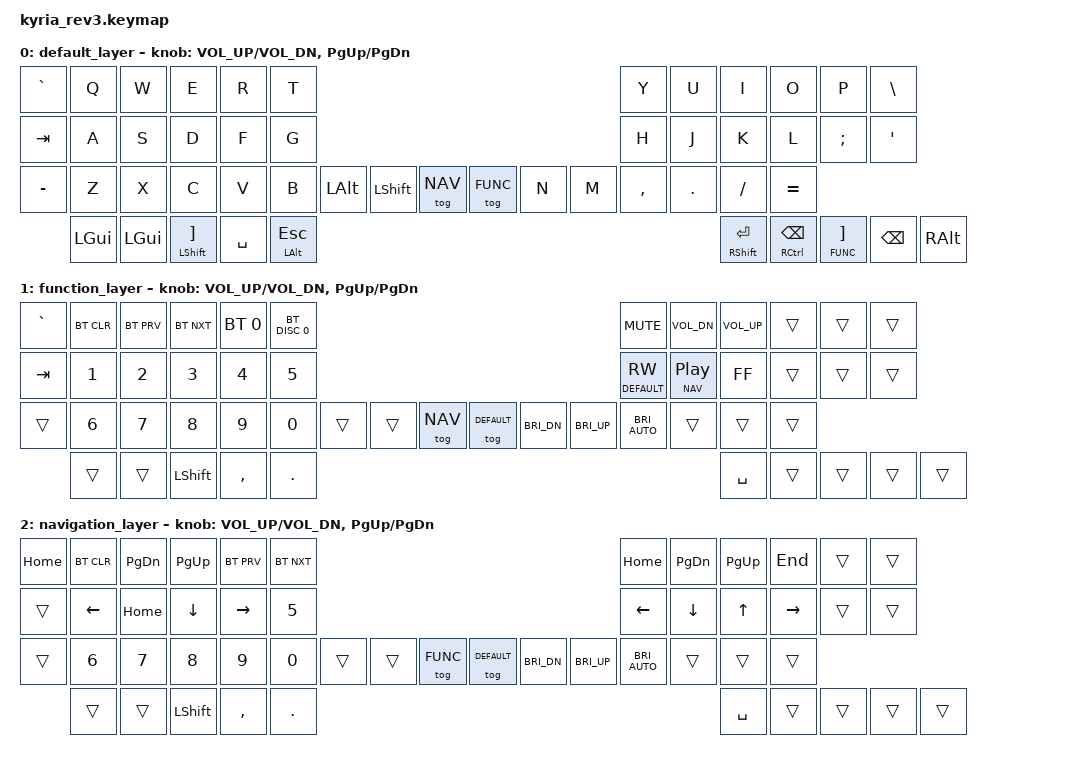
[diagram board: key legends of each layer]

/*
 * Copyright (c) 2023 The ZMK Contributors
 *
 * SPDX-License-Identifier: MIT
 */

#include <behaviors.dtsi>
#include "kyria_rev3.dtsi"
#include <dt-bindings/zmk/bt.h>
#include <dt-bindings/zmk/keys.h>

#define DEFAULT 0
#define FUNC  1
#define NAV  2

/* Uncomment this block if using RGB
&led_strip {
    chain-length = <6>;
    // chain-length = <31>; // Uncomment if using both per-key and underglow LEDs
    // chain-length = <25>; // Uncomment if using only per-key LEDs.
};
 */

/ {
    keymap {
        compatible = "zmk,keymap";

        default_layer {
            // ---------------------------------------------------------------------------------------------------------------------------------
            // |  ESC  |  Q  |  W  |  E   |  R   |  T   |                                          |  Y   |  U    |  I    |  O   |   P   |   \  |
            // |  TAB  |  A  |  S  |  D   |  F   |  G   |                                          |  H   |  J    |  K    |  L   |   ;   |   '  |
            // | SHIFT |  Z  |  X  |  C   |  V   |  B   | L SHIFT | L SHIFT |  | LAYER 1 | L SHIFT |  N   |  M    |  ,    |  .   |   /   | CTRL |
            //                     | GUI  | DEL  | RET  |  SPACE  |   ESC   |  |   RET   |  SPACE  | TAB  | BSPC  | R-ALT |

            bindings = <
            &kp GRAVE  &kp Q  &kp W  &kp E &kp R &kp T                                                                  &kp Y              &kp U     &kp I      &kp O    &kp P     &kp BSLH
            &kp TAB    &kp A  &kp S  &kp D &kp F &kp G                                                                  &kp H              &kp J     &kp K      &kp L    &kp SEMI  &kp SQT
            &kp MINUS  &kp Z  &kp X  &kp C &kp V &kp B  &kp LEFT_ALT  &kp LSHFT  &tog NAV &tog FUNC  &kp N             &kp M     &kp COMMA  &kp DOT  &kp FSLH  &kp EQUAL
                       &kp LGUI  &kp LGUI  &mt LEFT_SHIFT RIGHT_BRACKET &kp SPACE     &mt LEFT_ALT ESC    &mt RSHFT RET  &mt RIGHT_CONTROL BACKSPACE  &lt FUNC RIGHT_BRACKET  &kp BSPC  &kp RALT
            >;

            sensor-bindings = <&inc_dec_kp C_VOL_UP C_VOL_DN &inc_dec_kp PG_UP PG_DN>;
        };

        function_layer {
            // ---------------------------------------------------------------------------------------------------------------------------------
            // |       |      |BT_CLR|BTSEL0|BTSEL1|BTSEL2|                                         |      |      |      |      |      |      |
            // |       |      |      |BTSEL3|BTSEL4|      |                                         |      |      |      |      |      |      |
            // |       |      |      |      |      |      |      |      |      |      |      |      |      |      |      |      |      |      |

            //                       |      |      |      |      |      |      |      |      |      |      |      |      |
            bindings = <
               &kp GRAVE &bt BT_CLR  &bt BT_PRV       &bt BT_NXT      &bt BT_SEL 0 &bt BT_DISC 0                &kp C_MUTE  &kp C_VOL_DN  &kp C_VOL_UP  &trans  &trans  &trans
               &kp TAB &kp NUMBER_1  &kp NUMBER_2  &kp NUMBER_3  &kp NUMBER_4 &kp NUMBER_5                             &lt DEFAULT C_RW    &lt NAV C_PP     &kp C_FF      &trans    &trans  &trans
               &trans  &kp NUMBER_6  &kp NUMBER_7 &kp NUMBER_8   &kp NUMBER_9 &kp NUMBER_0 &trans &trans       &tog NAV  &tog DEFAULT  &kp C_BRI_DN  &kp C_BRI_UP  &kp C_BRI_AUTO  &trans  &trans  &trans
                       &trans        &trans       &kp LEFT_SHIFT &kp COMMA  &kp DOT  &kp SPACE  &trans  &trans  &trans  &trans
            >;

            sensor-bindings = <&inc_dec_kp C_VOL_UP C_VOL_DN &inc_dec_kp PG_UP PG_DN>;
        };

        navigation_layer {
        /*     // --------------------------------------------------------------------------------------------------------------------------------- */
        /*     // |       |      |BT_CLR|BTSEL0|BTSEL1|BTSEL2|                                         |      |      |      |      |      |      | */
        /*     // |       |      |      |BTSEL3|BTSEL4|      |                                         |      |      |      |      |      |      | */
        /*     // |       |      |      |      |      |      |      |      |      |      |      |      |      |      |      |      |      |      | */

        /*     //                       |      |      |      |      |      |      |      |      |      |      |      |      | */

        bindings = <
        &kp HOME  &bt BT_CLR  &kp PAGE_DOWN  &kp PAGE_UP &bt BT_PRV &bt BT_NXT                                  &kp HOME  &kp PAGE_DOWN  &kp PAGE_UP  &kp END  &trans  &trans
        &trans  &kp LEFT  &kp HOME &kp DOWN &kp RIGHT &kp NUMBER_5                                        &kp LEFT  &kp DOWN  &kp UP  &kp RIGHT  &trans  &trans
        &trans  &kp NUMBER_6  &kp NUMBER_7 &kp NUMBER_8 &kp NUMBER_9 &kp NUMBER_0 &trans &trans   &tog FUNC  &tog DEFAULT  &kp C_BRI_DN  &kp C_BRI_UP  &kp C_BRI_AUTO  &trans  &trans  &trans
        &trans        &trans        &kp LEFT_SHIFT &kp COMMA  &kp DOT  &kp SPACE  &trans  &trans  &trans  &trans
        >;

        sensor-bindings = <&inc_dec_kp C_VOL_UP C_VOL_DN &inc_dec_kp PG_UP PG_DN>;
        };
    };
};
